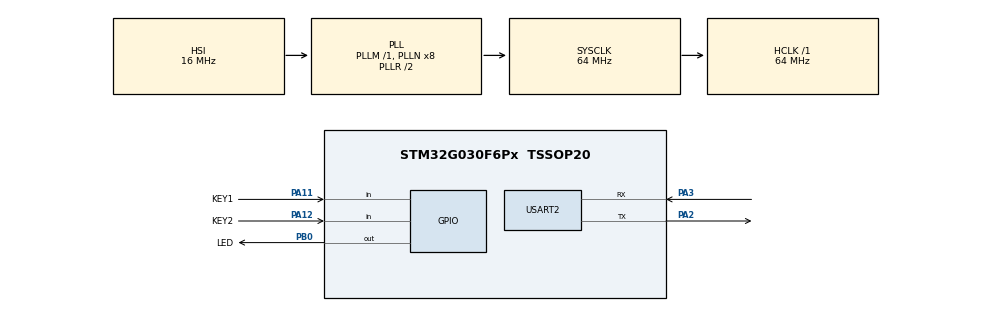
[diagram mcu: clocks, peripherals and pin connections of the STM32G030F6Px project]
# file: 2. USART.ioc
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Mcu.Family=STM32G0
Mcu.Name=STM32G030F6Px
Mcu.Package=TSSOP20
PA11\ [PA9].GPIO_Label=KEY1
PA11\ [PA9].Signal=GPIO_Input
PA12\ [PA10].GPIO_Label=KEY2
PA12\ [PA10].Signal=GPIO_Input
PA14-BOOT0__PA15.StandardMode=true
PA2.Mode=Asynchronous
PA2.Signal=USART2_TX
PA3.Mode=Asynchronous
PA3.Signal=USART2_RX
PB0.GPIO_Label=LED
PB0.Signal=GPIO_Output
PB0__PB1__PB2__PA8.StandardMode=true
PB3__PB4__PB5__PB6.StandardMode=true
PB7__PB8.StandardMode=true
PC14-OSC32_IN\ (PC14)__PB9.StandardMode=true
ProjectManager.HeapSize=0x200
ProjectManager.StackSize=0x400
ProjectManager.TargetToolchain=MDK-ARM V5.32
RCC.ADCFreq_Value=64000000
RCC.AHBFreq_Value=64000000
RCC.CortexFreq_Value=64000000
RCC.EXTERNAL_CLOCK_VALUE=12288000
RCC.HCLKFreq_Value=64000000
RCC.HSE_VALUE=8000000
RCC.HSI_VALUE=16000000
RCC.LSE_VALUE=32768
RCC.SYSCLKFreq_VALUE=64000000
RCC.SYSCLKSource=RCC_SYSCLKSOURCE_PLLCLK
RCC.VCOOutputFreq_Value=128000000
USART2.VirtualMode-Asynchronous=VM_ASYNC
board=custom

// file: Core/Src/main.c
/* USER CODE BEGIN Header */
/**
  ******************************************************************************
  * @file           : main.c
  * @brief          : Main program body
  ******************************************************************************
  * @attention
  *
  * Copyright (c) 2023 STMicroelectronics.
  * All rights reserved.
  *
  * This software is licensed under terms that can be found in the LICENSE file
  * in the root directory of this software component.
  * If no LICENSE file comes with this software, it is provided AS-IS.
  *
  ******************************************************************************
  */
/* USER CODE END Header */
#include "main.h"
#include "usart.h"
#include "gpio.h"

/* USER CODE BEGIN Includes */

#include <stdio.h>

/* USER CODE END Includes */

/* USER CODE BEGIN PD */

#define LED_PORT					GPIOB
#define LED_PIN						GPIO_PIN_0
#define LED_ON_STATE				GPIO_PIN_RESET
#define LED_OFF_STATE				GPIO_PIN_SET
#define LED_ON()\
			{\
				HAL_GPIO_WritePin(LED_PORT, LED_PIN, LED_ON_STATE);\
			}
#define LED_OFF()\
			{\
				HAL_GPIO_WritePin(LED_PORT, LED_PIN, LED_OFF_STATE);\
			}

/* USER CODE END PD */

/* USER CODE BEGIN PV */

static UART_HandleTypeDef* const serial = &huart2;
static const uint32_t time_Out = 0XFFFFFF;

/* USER CODE END PV */

void SystemClock_Config(void);

int main(void)
{

  /* MCU Configuration--------------------------------------------------------*/

  /* Reset of all peripherals, Initializes the Flash interface and the Systick. */
  HAL_Init();

  /* Configure the system clock */
  SystemClock_Config();

  /* Initialize all configured peripherals */
  MX_GPIO_Init();
  MX_USART2_UART_Init();

  /* Infinite loop */
  /* USER CODE BEGIN WHILE */
  while (1)
  {
	  LED_ON();
	  printf("LED: ON\r\n");
	  HAL_Delay(500);
	  LED_OFF();
	  printf("LED: OFF\r\n");
	  HAL_Delay(500);
    /* USER CODE END WHILE */

  }
}

void SystemClock_Config(void)
{
  RCC_OscInitTypeDef RCC_OscInitStruct = {0};
  RCC_ClkInitTypeDef RCC_ClkInitStruct = {0};

  /** Configure the main internal regulator output voltage
  */
  HAL_PWREx_ControlVoltageScaling(PWR_REGULATOR_VOLTAGE_SCALE1);

  /** Initializes the RCC Oscillators according to the specified parameters
  * in the RCC_OscInitTypeDef structure.
  */
  RCC_OscInitStruct.OscillatorType = RCC_OSCILLATORTYPE_HSI;
  RCC_OscInitStruct.HSIState = RCC_HSI_ON;
  RCC_OscInitStruct.HSIDiv = RCC_HSI_DIV1;
  RCC_OscInitStruct.HSICalibrationValue = RCC_HSICALIBRATION_DEFAULT;
  RCC_OscInitStruct.PLL.PLLState = RCC_PLL_ON;
  RCC_OscInitStruct.PLL.PLLSource = RCC_PLLSOURCE_HSI;
  RCC_OscInitStruct.PLL.PLLM = RCC_PLLM_DIV1;
  RCC_OscInitStruct.PLL.PLLN = 8;
  RCC_OscInitStruct.PLL.PLLP = RCC_PLLP_DIV2;
  RCC_OscInitStruct.PLL.PLLR = RCC_PLLR_DIV2;
  if (HAL_RCC_OscConfig(&RCC_OscInitStruct) != HAL_OK)
  {
    Error_Handler();
  }

  /** Initializes the CPU, AHB and APB buses clocks
  */
  RCC_ClkInitStruct.ClockType = RCC_CLOCKTYPE_HCLK|RCC_CLOCKTYPE_SYSCLK
                              |RCC_CLOCKTYPE_PCLK1;
  RCC_ClkInitStruct.SYSCLKSource = RCC_SYSCLKSOURCE_PLLCLK;
  RCC_ClkInitStruct.AHBCLKDivider = RCC_SYSCLK_DIV1;
  RCC_ClkInitStruct.APB1CLKDivider = RCC_HCLK_DIV1;

  if (HAL_RCC_ClockConfig(&RCC_ClkInitStruct, FLASH_LATENCY_2) != HAL_OK)
  {
    Error_Handler();
  }
}

void Error_Handler(void)
{
  __disable_irq();
  while (1)
  {
  }
}
